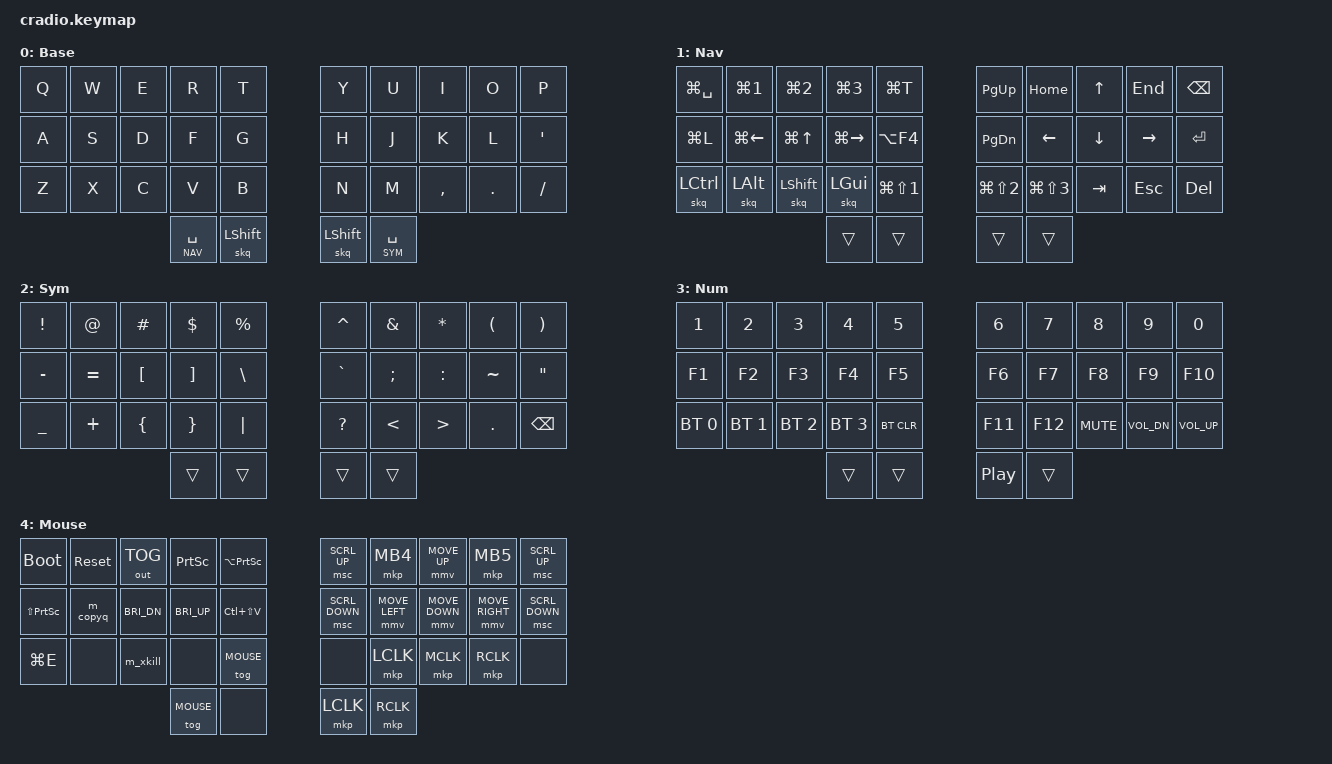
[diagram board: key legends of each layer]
/*
 * Ferris Sweep ZMK Keymap
 * Linux · English + Russian · C + Pascal
 *
 * Философия: sticky keys (без HRM), надёжно, без ложных срабатываний.
 *
 * ════════════════════════════════════════════════════════════════════
 * КАК ВОЙТИ В BOOTLOADER (режим прошивки)
 * ════════════════════════════════════════════════════════════════════
 *
 * Кнопка &bootloader теперь есть в Mouse слое на [Q].
 * Это безопасно — Mouse слой не активен по умолчанию,
 * случайно туда не попадёшь.
 *
 * Физические способы (если клава совсем не отвечает):
 *
 * СПОСОБ 1 — двойной тап кнопки Reset на контроллере:
 *   — нажми RST дважды быстро → появится диск NICENANO
 *   — скопируй .uf2 на диск → клава перезагрузится
 *
 * СПОСОБ 2 — замкнуть контакты RST и GND:
 *   — на nice!nano v2: два крайних контакта снизу платы
 *   — замкни дважды быстро (пинцет, скрепка)
 *
 * СПОСОБ 3 — Linux не монтирует NICENANO:
 *   lsblk                              # найти диск
 *   udisksctl mount -b /dev/sdb        # примонтировать
 *   cp firmware.uf2 /media/$USER/NICENANO/
 *   # если нет прав:
 *   sudo usermod -aG plugdev $USER     # один раз, потом перелогинься
 *
 * Прошивать ОБЕ половины по отдельности:
 *   cradio_left-nice_nano-zmk.uf2  → левая
 *   cradio_right-nice_nano-zmk.uf2 → правая
 *
 * ════════════════════════════════════════════════════════════════════
 * OUT_TOG — переключение USB ↔ Bluetooth
 * ════════════════════════════════════════════════════════════════════
 *
 * Переключает между USB (кабель) и Bluetooth вручную.
 * Нужен когда подключил кабель но клава продолжает слать ввод по BT.
 * Теперь в Mouse слое на [E] — не занимает место в NUM.
 *
 * ════════════════════════════════════════════════════════════════════
 * Bluetooth
 * ════════════════════════════════════════════════════════════════════
 *
 * Первое подключение:
 *   1. Оба больших пальца → NUM
 *   2. BT_SEL 0 (позиция Z) — выбрать профиль
 *   3. На устройстве: Bluetooth → найти "Cradio" → подключить
 *
 * Переключение между устройствами:
 *   NUM → BT_SEL 0/1/2/3 (позиции Z/X/C/V)
 *
 * Сброс профиля:
 *   NUM → BT_SEL N → BT_CLR (позиция B)
 *
 * ════════════════════════════════════════════════════════════════════
 * CopyQ — менеджер буфера обмена
 * ════════════════════════════════════════════════════════════════════
 *
 * Установка: sudo apt install copyq
 * Настройка горячей клавиши:
 *   CopyQ → Preferences → Shortcuts →
 *   "Show/hide main window" → назначить Super+V
 *
 * Использование:
 *   — всё что копируешь (Ctrl+C) автоматически сохраняется
 *   — Super+V → открывается список истории
 *   — начни печатать → поиск по истории
 *   — Enter или клик → вставить выбранный элемент
 *
 * В Mouse слое [S] отправляет Super+V → открывает CopyQ
 * прямо во время работы с мышью.
 *
 * ════════════════════════════════════════════════════════════════════
 * Скриншоты (Pop!_OS стандартные сочетания)
 * ════════════════════════════════════════════════════════════════════
 *
 * PrintScr          → весь экран
 * Alt+PrintScr      → текущее окно
 * Shift+PrintScr    → выбрать область мышью
 *
 * Все три теперь на левой руке в Mouse слое.
 *
 * ════════════════════════════════════════════════════════════════════
 * xkill — убить зависшее окно кликом
 * ════════════════════════════════════════════════════════════════════
 *
 * Установка: sudo apt install x11-utils
 * Использование: запускается с [C] в Mouse слое →
 *   курсор становится крестиком → кликни на зависшее окно → убито.
 * Идеально именно в Mouse слое — правая рука уже на мыши.
 *
 * ════════════════════════════════════════════════════════════════════
 * СЛОИ
 * ════════════════════════════════════════════════════════════════════
 *
 *   0 BASE  — QWERTY
 *   1 NAV   — стрелки, рабочий стол (левый большой удерж.)
 *   2 SYM   — символы C и Pascal (правый большой удерж.)
 *   3 NUM   — цифры 1–0, F-клавиши, BT, медиа (оба больших)
 *   4 MOUSE — мышь + системный пульт (комбо V+B toggle)
 *
 * COMBOS:
 *   Q+W   → ESC
 *   A+S   → TAB
 *   J+K   → ENTER
 *   U+I   → BACKSPACE
 *   I+O   → DELETE
 *   F+J   → CAPS WORD
 *   V+B   → Toggle MOUSE
 *   31+32 → Shift+Alt (EN/RU)
 *
 * KEY POSITIONS (34 keys):
 *
 *  0  1  2  3  4      5  6  7  8  9
 * 10 11 12 13 14     15 16 17 18 19
 * 20 21 22 23 24     25 26 27 28 29
 *             30 31  32 33
 */

#include <behaviors.dtsi>
#include <dt-bindings/zmk/keys.h>
#include <dt-bindings/zmk/bt.h>
#include <dt-bindings/zmk/mouse.h>
#include <dt-bindings/zmk/outputs.h>

#define BASE  0
#define NAV   1
#define SYM   2
#define NUM   3
#define MOUSE 4

#define COMBO_TERM 40

/ {

/* ------------------------------------------------------------------ */
/*  MACROS                                                              */
/* ------------------------------------------------------------------ */

    macros {
        /*
         * Открыть CopyQ: отправляет Super+V
         * Требует назначить Super+V в CopyQ → Preferences → Shortcuts
         */
        m_copyq: m_copyq {
            compatible = "zmk,behavior-macro";
            #binding-cells = <0>;
            bindings = <&kp LG(V)>;
        };

        /*
         * xkill: запустить xkill в терминале
         * Отправляет Super+T (открыть терминал) затем xkill + Enter
         * Требует чтобы Super+T открывал терминал в Pop!_OS
         * Альтернатива: назначить xkill напрямую через GNOME shortcuts
         */
        m_xkill: m_xkill {
            compatible = "zmk,behavior-macro";
            #binding-cells = <0>;
            wait-ms = <50>;
            bindings =
                <&kp LG(T)>,
                <&macro_wait_time 300>,
                <&kp X &kp K &kp I &kp L &kp L &kp RET>;
        };
    };

/* ------------------------------------------------------------------ */
/*  TRI-LAYER — оба больших пальца = NUM                               */
/* ------------------------------------------------------------------ */

    conditional_layers {
        compatible = "zmk,conditional-layers";
        tri_layer {
            if-layers = <NAV SYM>;
            then-layer = <NUM>;
        };
    };

/* ------------------------------------------------------------------ */
/*  COMBOS                                                              */
/* ------------------------------------------------------------------ */

    combos {
        compatible = "zmk,combos";

        combo_esc       { timeout-ms = <COMBO_TERM>; key-positions = <0 1>;   bindings = <&kp ESC>;      }; /* Q+W          */
        combo_tab       { timeout-ms = <COMBO_TERM>; key-positions = <10 11>; bindings = <&kp TAB>;      }; /* A+S          */
        combo_enter     { timeout-ms = <COMBO_TERM>; key-positions = <16 17>; bindings = <&kp RET>;      }; /* J+K          */
        combo_bspc      { timeout-ms = <COMBO_TERM>; key-positions = <6 7>;   bindings = <&kp BSPC>;     }; /* U+I          */
        combo_del       { timeout-ms = <COMBO_TERM>; key-positions = <7 8>;   bindings = <&kp DEL>;      }; /* I+O          */
        combo_caps_word { timeout-ms = <COMBO_TERM>; key-positions = <13 16>; bindings = <&caps_word>;   }; /* F+J          */
        combo_mouse     { timeout-ms = <COMBO_TERM>; key-positions = <23 24>; bindings = <&tog MOUSE>;   }; /* V+B → Mouse  */
        combo_lang      { timeout-ms = <COMBO_TERM>; key-positions = <31 32>; bindings = <&kp LS(LALT)>; }; /* thumbs→EN/RU */
    };

/* ------------------------------------------------------------------ */
/*  BEHAVIORS                                                           */
/* ------------------------------------------------------------------ */

    behaviors {
        /*
         * Sticky key с быстрым сбросом:
         *   тап 1 раз  → модификатор активен для следующего нажатия
         *   тап 2 раза → модификатор залипает
         *   ignore-modifiers → комбинировать несколько sticky подряд
         *
         * Пример Ctrl+C:
         *   удержи NAV → тапни Z (sticky Ctrl) → отпусти NAV → тапни C
         *
         * Пример Ctrl+Alt+Del:
         *   удержи NAV → Z → X → отпусти NAV → тапни I+O (combo Del)
         */
        skq: sticky_key_quick_release {
            compatible = "zmk,behavior-sticky-key";
            #binding-cells = <1>;
            bindings = <&kp>;
            release-after-ms = <1000>;
            quick-release;
            ignore-modifiers;
        };
    };

/* ------------------------------------------------------------------ */
/*  KEYMAP                                                              */
/* ------------------------------------------------------------------ */

    keymap {
        compatible = "zmk,keymap";

        /* ── 0: BASE ─────────────────────────────────────────────── */
        base_layer {
            display-name = "Base";
            bindings = <
                &kp Q  &kp W  &kp E  &kp R  &kp T      &kp Y  &kp U      &kp I     &kp O    &kp P
                &kp A  &kp S  &kp D  &kp F  &kp G      &kp H  &kp J      &kp K     &kp L    &kp SQT
                &kp Z  &kp X  &kp C  &kp V  &kp B      &kp N  &kp M      &kp COMMA &kp DOT  &kp FSLH
                              &lt NAV SPACE  &skq LSHFT    &skq LSHFT  &lt SYM SPACE
            >;
        };

        /* ── 1: NAV ──────────────────────────────────────────────── */
        /*
         * ┌──────────────────────────────────────────────────────────┐
         * │ ЛЕВАЯ РУКА — управление рабочим столом GNOME / Pop!_OS   │
         * └──────────────────────────────────────────────────────────┘
         *
         *  [Q] Super+Space    — лаунчер приложений
         *  [W] Super+1        — рабочий стол 1
         *  [E] Super+2        — рабочий стол 2
         *  [R] Super+3        — рабочий стол 3
         *  [T] Super+T        — открыть терминал
         *
         *  [A] Super+L        — заблокировать экран
         *  [S] Super+←        — snap окна влево
         *  [D] Super+↑        — развернуть на весь экран
         *  [F] Super+→        — snap окна вправо
         *  [G] Alt+F4         — закрыть окно
         *
         *  [Z] sticky Ctrl    — Ctrl для следующего нажатия
         *  [X] sticky Alt     — Alt для следующего нажатия
         *  [C] sticky Shift   — Shift для следующего нажатия
         *  [V] sticky GUI     — Super для следующего нажатия
         *  [B] Super+Shift+1  — переместить окно на рабочий стол 1
         *
         * ┌──────────────────────────────────────────────────────────┐
         * │ ПРАВАЯ РУКА — навигация                                  │
         * └──────────────────────────────────────────────────────────┘
         *
         *  [Y] Page Up   [U] Home   [I] ↑      [O] End    [P] Backspace
         *  [H] Page Down [J] ←      [K] ↓      [L] →      ['] Enter
         *  [N] Super+Shift+2        [M] Super+Shift+3
         *  [,] Tab       [.] Escape [/] Delete
         */
        nav_layer {
            display-name = "Nav";
            bindings = <
                &kp LG(SPACE)  &kp LG(N1)    &kp LG(N2)   &kp LG(N3)     &kp LG(T)        &kp PG_UP       &kp HOME        &kp UP    &kp END    &kp BSPC
                &kp LG(L)      &kp LG(LEFT)  &kp LG(UP)   &kp LG(RIGHT)  &kp LA(F4)        &kp PG_DN       &kp LEFT        &kp DOWN  &kp RIGHT  &kp RET
                &skq LCTRL     &skq LALT     &skq LSHFT   &skq LGUI      &kp LG(LS(N1))   &kp LG(LS(N2))  &kp LG(LS(N3))  &kp TAB   &kp ESC    &kp DEL
                                                      &trans  &trans           &trans  &trans
            >;
        };

        /* ── 2: SYM ──────────────────────────────────────────────── */
        /*
         * Левая рука:
         *  верх:      !  @  #  $  %
         *  середина:  -  =  [  ]  \     ← массивы, присваивание
         *  низ:       _  +  {  }  |     ← блоки C, битовое или
         *
         * Правая рука:
         *  верх:      ^  &  *  (  )     ← указатели C, битовые операции
         *  середина:  `  ;  :  ~  "     ← ; конец строки C, : метки Pascal
         *  низ:       ?  <  >  .  ⌫     ← сравнения, . для Pascal
         *
         * Pascal:
         *  :=  → : (поз.17) затем = (поз.11)
         *  ..  → . дважды  (поз.28)
         */
        sym_layer {
            display-name = "Sym";
            bindings = <
                &kp EXCL   &kp AT     &kp HASH   &kp DLLR   &kp PRCNT    &kp CARET  &kp AMPS   &kp STAR   &kp LPAR   &kp RPAR
                &kp MINUS  &kp EQUAL  &kp LBKT   &kp RBKT   &kp BSLH     &kp GRAVE  &kp SEMI   &kp COLON  &kp TILDE  &kp DQT
                &kp UNDER  &kp PLUS   &kp LBRC   &kp RBRC   &kp PIPE     &kp QMARK  &kp LT     &kp GT     &kp DOT    &kp BSPC
                                            &trans  &trans     &trans  &trans
            >;
        };

        /* ── 3: NUM ──────────────────────────────────────────────── */
        /*
         * Активируется удержанием ОБОИХ больших пальцев.
         *
         *  верх:  1  2  3  4  5  |  6  7  8  9  0
         *  сред:  F1 F2 F3 F4 F5 | F6 F7 F8 F9 F10
         *
         *  Нижний ряд левая рука — Bluetooth:
         *   [Z] BT_SEL 0   — профиль 0
         *   [X] BT_SEL 1   — профиль 1
         *   [C] BT_SEL 2   — профиль 2
         *   [V] BT_SEL 3   — профиль 3
         *   [B] BT_CLR     — сбросить текущий профиль
         *
         *  Нижний ряд правая рука:
         *   [N] F11
         *   [M] F12
         *   [,] Mute       — заглушить звук
         *   [.] Vol-       — тише
         *   [/] Vol+       — громче
         *
         *  Правый большой:
         *   C_PP            — Play/Pause (работает в любом плеере)
         */
        num_layer {
            display-name = "Num";
            bindings = <
                &kp N1        &kp N2        &kp N3        &kp N4        &kp N5        &kp N6   &kp N7   &kp N8        &kp N9        &kp N0
                &kp F1        &kp F2        &kp F3        &kp F4        &kp F5        &kp F6   &kp F7   &kp F8        &kp F9        &kp F10
                &bt BT_SEL 0  &bt BT_SEL 1  &bt BT_SEL 2  &bt BT_SEL 3  &bt BT_CLR    &kp F11  &kp F12  &kp C_MUTE    &kp C_VOL_DN  &kp C_VOL_UP
                                                      &trans  &trans     &kp C_PP  &trans
            >;
        };

        /* ── 4: MOUSE ────────────────────────────────────────────── */
        /*
         * Активация/выключение: комбо V+B — toggle.
         * Выключить: снова V+B, или [B] на левой руке, или [30] большой палец.
         *
         * ┌──────────────────────────────────────────────────────────┐
         * │ ЛЕВАЯ РУКА — системный пульт                             │
         * └──────────────────────────────────────────────────────────┘
         *
         *  [Q] &bootloader      — войти в режим прошивки
         *                         (безопасно — Mouse слой не активен по умолчанию)
         *  [W] &sys_reset       — мягкая перезагрузка контроллера
         *                         (без входа в bootloader, просто рестарт ZMK)
         *  [E] &out OUT_TOG     — переключить USB ↔ Bluetooth
         *                         (нужен когда подключил кабель но клава шлёт по BT)
         *  [R] PrintScr         — скриншот всего экрана
         *  [T] Alt+PrintScr     — скриншот текущего окна
         *
         *  [A] Shift+PrintScr   — скриншот области (выбрать мышью — правая рука тут же)
         *  [S] Super+V → CopyQ  — открыть историю буфера обмена
         *                         (требует: CopyQ → Preferences → Shortcuts → Super+V)
         *  [D] C_BRI_DN         — уменьшить яркость экрана
         *  [F] C_BRI_UP         — увеличить яркость экрана
         *  [G] Ctrl+Shift+V     — вставить без форматирования
         *                         (работает в браузере, терминале, большинстве редакторов)
         *
         *  [Z] Super+E          — открыть файловый менеджер Nautilus
         *  [X] —                — свободно
         *  [C] xkill macro      — убить зависшее окно кликом мыши
         *                         курсор станет крестиком → кликни правой рукой на окно
         *                         требует: sudo apt install x11-utils
         *  [V] —                — свободно
         *  [B] &tog MOUSE       — выключить Mouse слой
         *
         * ┌──────────────────────────────────────────────────────────┐
         * │ ПРАВАЯ РУКА — движение курсора и клики                   │
         * └──────────────────────────────────────────────────────────┘
         *
         *  верх:     SCRL_UP   MB4(назад)   MOVE_UP    MB5(вперёд)  SCRL_UP
         *  середина: SCRL_DN   MOVE_LEFT    MOVE_DOWN  MOVE_RIGHT   SCRL_DN
         *  низ:      —         LCLK         MCLK       RCLK         —
         *
         *  Большие пальцы:
         *   [30] tog MOUSE   — выключить слой
         *   [32] LCLK        — левый клик
         *   [33] RCLK        — правый клик
         */
        mouse_layer {
            display-name = "Mouse";
            bindings = <
             /* [Q]           [W]           [E]              [R]          [T]              */
                &bootloader   &sys_reset    &out OUT_TOG     &kp PSCRN    &kp LA(PSCRN)
             /* [Y]              [U]             [I]             [O]              [P]           */
                &msc SCRL_UP    &mkp MB4        &mmv MOVE_UP    &mkp MB5         &msc SCRL_UP

             /* [A]               [S]       [D]           [F]           [G]                  */
                &kp LS(PSCRN)   &m_copyq   &kp C_BRI_DN  &kp C_BRI_UP  &kp LC(LS(V))
             /* [H]              [J]              [K]             [L]              [']           */
                &msc SCRL_DOWN  &mmv MOVE_LEFT   &mmv MOVE_DOWN  &mmv MOVE_RIGHT  &msc SCRL_DOWN

             /* [Z]          [X]    [C]        [V]    [B]          */
                &kp LG(E)    &none  &m_xkill   &none  &tog MOUSE
             /* [N]    [M]         [,]        [.]        [/]   */
                &none  &mkp LCLK   &mkp MCLK  &mkp RCLK  &none

                &tog MOUSE  &none     &mkp LCLK  &mkp RCLK
            >;
        };
    };
};
